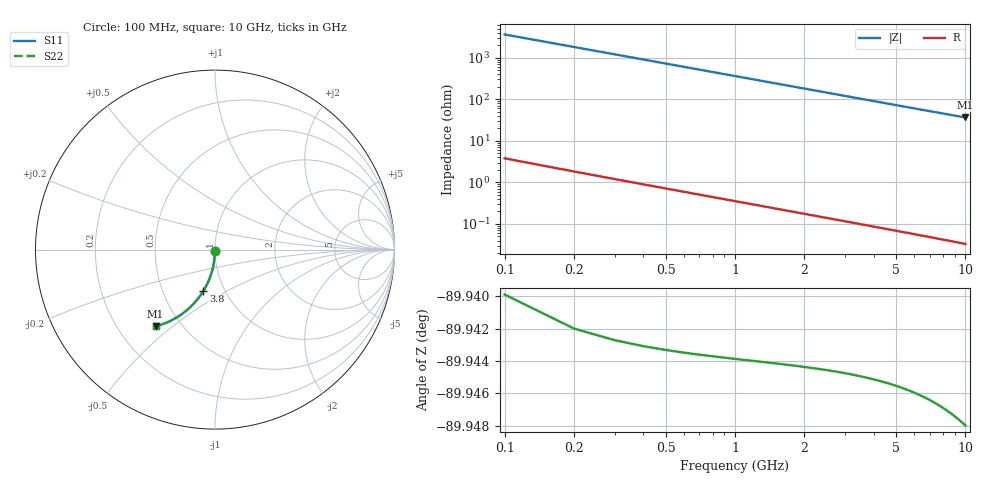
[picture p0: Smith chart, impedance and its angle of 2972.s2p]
# Hz S RI R 50.00
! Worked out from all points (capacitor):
!   100 points, 100 MHz to 10 GHz, reference 50 ohm
!   read as one part in shunt: C = 440 fF near 100 MHz
!   lowest |Z| = 36.4 ohm at 10 GHz (marker M1)
!   S11 on the Smith chart (normalised r, x): 100 MHz: 1.00, -0.01; 3.8 GHz: 0.79, -0.39; 10 GHz: 0.36, -0.44
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1e8  4.22e-05 -0.00649  0.9998 -0.00734  0.9998 -0.00734  4.22e-05 -0.00649
2e8  -0.000107 -0.013  0.9997 -0.0147  0.9997 -0.0147  -0.000107 -0.013
3e8  -0.000351 -0.0195  0.9994 -0.022  0.9994 -0.022  -0.000351 -0.0195
4e8  -0.000691 -0.026  0.9991 -0.0293  0.9991 -0.0293  -0.000691 -0.026
5e8  -0.00113 -0.0324  0.9987 -0.0367  0.9987 -0.0367  -0.00113 -0.0324
6e8  -0.00165 -0.0389  0.9981 -0.044  0.9981 -0.044  -0.00165 -0.0389
7e8  -0.00228 -0.0454  0.9975 -0.0513  0.9975 -0.0513  -0.00228 -0.0454
8e8  -0.003 -0.0518  0.9968 -0.0586  0.9968 -0.0586  -0.003 -0.0518
9e8  -0.00381 -0.0582  0.996 -0.0658  0.996 -0.0658  -0.00381 -0.0582
1.1e9  -0.00571 -0.071  0.994 -0.0803  0.994 -0.0803  -0.00571 -0.071
1.4e9  -0.00927 -0.0901  0.9905 -0.1019  0.9905 -0.1019  -0.00927 -0.0901
1.8e9  -0.0153 -0.1152  0.9844 -0.1304  0.9844 -0.1304  -0.0153 -0.1152
2.1e9  -0.0207 -0.1336  0.9789 -0.1514  0.9789 -0.1514  -0.0207 -0.1336
2.5e9  -0.0291 -0.1577  0.9704 -0.1789  0.9704 -0.1789  -0.0291 -0.1577
2.9e9  -0.0389 -0.1811  0.9606 -0.2057  0.9606 -0.2057  -0.0389 -0.1811
3.4e9  -0.0527 -0.2092  0.9466 -0.2381  0.9466 -0.2381  -0.0527 -0.2092
3.8e9  -0.0651 -0.2308  0.9341 -0.263  0.9341 -0.263  -0.0651 -0.2308
4.4e9  -0.0856 -0.2612  0.9135 -0.2986  0.9135 -0.2986  -0.0856 -0.2612
5.1e9  -0.112 -0.2938  0.8869 -0.3373  0.8869 -0.3373  -0.112 -0.2938
6.7e9  -0.1798 -0.3556  0.8184 -0.413  0.8184 -0.413  -0.1798 -0.3556
8.4e9  -0.2577 -0.4014  0.7394 -0.4739  0.7394 -0.4739  -0.2577 -0.4014
1e10  -0.3314 -0.4275  0.6646 -0.5143  0.6646 -0.5143  -0.3314 -0.4275
